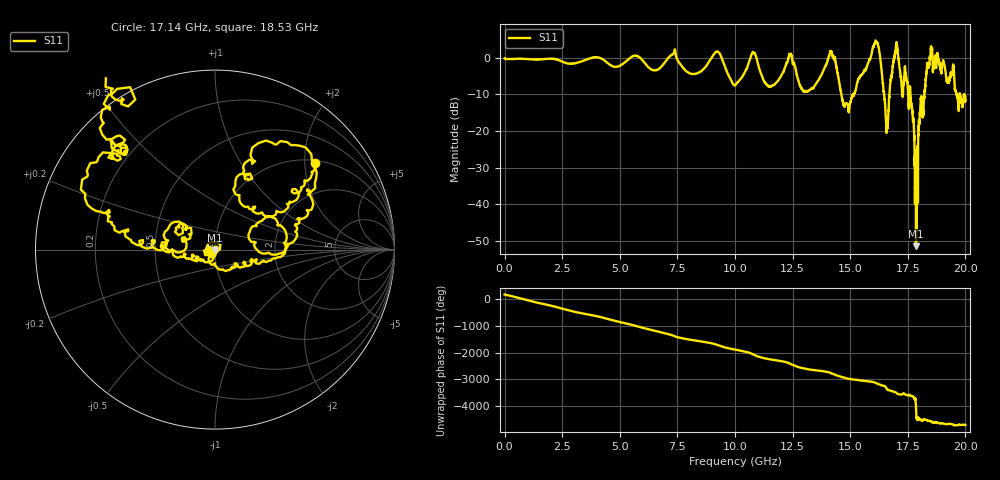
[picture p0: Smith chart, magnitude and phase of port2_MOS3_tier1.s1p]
! Created with skrf 1.8.0 (http://scikit-rf.org).
# GHz S RI R 50.0
!freq ReS11 ImS11
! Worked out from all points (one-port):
!   10000 points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, 3 MHz to 20 GHz, reference 50 ohm
!   lowest |S11| = -51.4 dB at 17.86 GHz (marker M1), VSWR 1.01, Z = 49.9 - j0.228 ohm
!   |S11| at or under -10 dB: 14.62 GHz to 15.12 GHz (500.6 MHz wide, 3.37 % of centre); 17.62 GHz to 18.22 GHz (599.6 MHz wide, 3.35 % of centre); 19.76 GHz to end of sweep (the widest 3 of 9)
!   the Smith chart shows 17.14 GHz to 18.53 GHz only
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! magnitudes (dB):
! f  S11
! 3 MHz  -0.2
! 2.503 GHz  -1.1
! 5.003 GHz  -2.2
! 7.503 GHz  -0.6
! 8.279 GHz  -4.5
! 9.255 GHz  1.6
! 10 GHz  -7.6
! 10.79 GHz  1.4
! 11.5 GHz  -7.9
! 12.5 GHz  -1.5
! 13.11 GHz  -9.3
! 14.19 GHz  1.5
! 14.69 GHz  -12.2
! 15 GHz  -12.2
! 16.11 GHz  4.4
! 16.28 GHz  1.1
! 16.58 GHz  -20.6
! 16.98 GHz  2.8
! 17.23 GHz  -7.9
! 17.5 GHz  -8.0
! 17.68 GHz  -13.4
! 17.86 GHz  -51.4
! 17.91 GHz  -31.1
! 18.05 GHz  -12.6
! 18.48 GHz  -0.2
! 19.43 GHz  -4.2
! 19.78 GHz  -10.6
! 20 GHz  -10.7
